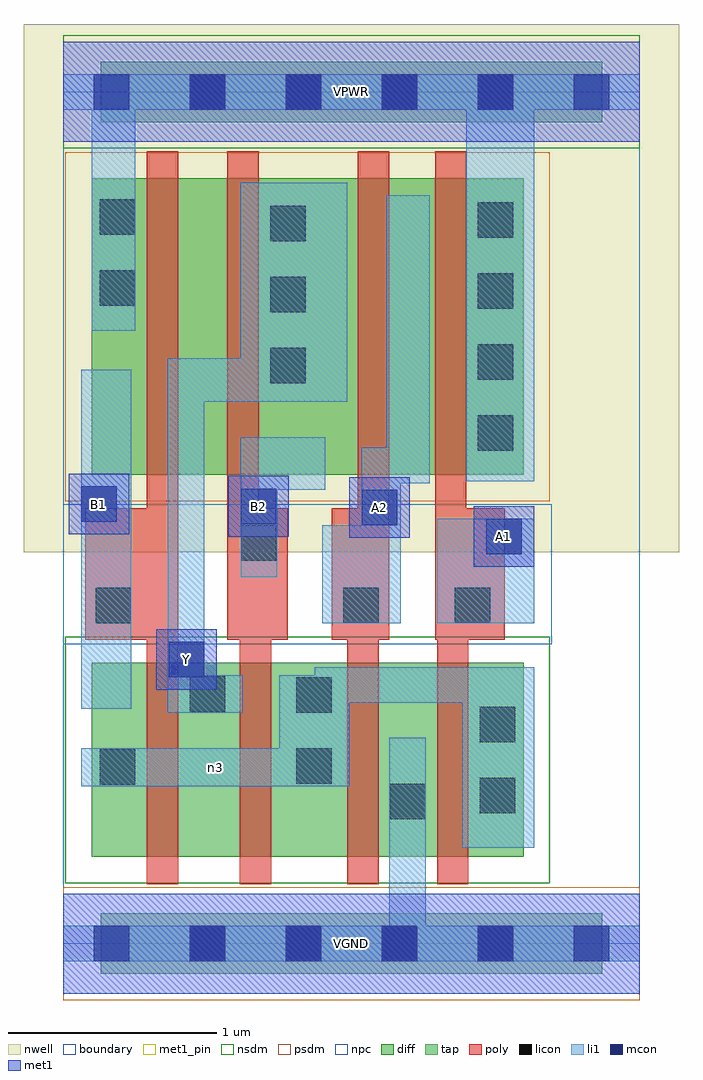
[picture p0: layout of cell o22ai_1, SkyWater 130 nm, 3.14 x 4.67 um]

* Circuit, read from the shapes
.subckt o22ai_1 A1 A2 B1 B2 VGND VPWR Y n3
XM1 Y B1 n3 VGND sky130_fd_pr__nfet_01v8 w=0.93 l=0.15
XM2 n3 B2 Y VGND sky130_fd_pr__nfet_01v8 w=0.93 l=0.15
XM3 VGND A2 n3 VGND sky130_fd_pr__nfet_01v8 w=0.93 l=0.15
XM4 n3 A1 VGND VGND sky130_fd_pr__nfet_01v8 w=0.93 l=0.15
XM5 n1 B1 VPWR VPWR sky130_fd_pr__pfet_01v8 w=1.42 l=0.15
XM6 Y B2 n1 VPWR sky130_fd_pr__pfet_01v8 w=1.42 l=0.15
XM7 n2 A2 Y VPWR sky130_fd_pr__pfet_01v8 w=1.42 l=0.15
XM8 VPWR A1 n2 VPWR sky130_fd_pr__pfet_01v8 w=1.42 l=0.15
.ends

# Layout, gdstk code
import gdstk
lib = gdstk.Library(unit=1e-6, precision=1e-09)
def R(c, l, rs):  # rectangles x0, y0, x1, y1
    for r in rs: c.add(gdstk.rectangle(r[:2], r[2:], *l))
def A(c, l, x, y, w, h, nx, ny, dx, dy):  # array of equal rectangles
    R(c, l, [(x+i*dx, y+j*dy, x+i*dx+w, y+j*dy+h) for i in range(nx) for j in range(ny)])
nwell = (64, 20)
diff = (65, 20)
tap = (65, 44)
poly = (66, 20)
licon = (66, 44)
li1 = (67, 20)
mcon = (67, 44)
met1_pin = (68, 16)
met1 = (68, 20)
nsdm = (93, 44)
psdm = (94, 20)
npc = (95, 20)
boundary = (235, 4)

o22ai_1 = lib.new_cell('o22ai_1')
R(o22ai_1, nwell, [(-0.19,1.875,2.95,4.405), (0,1.875,2.76,4.405)])
R(o22ai_1, diff, [(0.135,0.415,2.205,1.345), (0.135,2.245,2.205,3.665)])
R(o22ai_1, tap, [(0.18,-0.145,2.58,0.145), (0.18,3.935,2.58,4.225)])
R(o22ai_1, poly, [(0.4,0.285,0.55,3.795), (0.845,0.285,0.995,2.085), (1.36,0.285,1.51,2.085), (1.79,0.285,1.94,2.085), (0.105,1.455,0.55,2.085), (0.785,1.455,0.935,3.795), (0.785,1.455,1.075,2.085), (1.285,1.455,1.56,2.085), (1.41,1.455,1.56,3.795), (1.78,1.455,1.93,3.795), (1.78,1.455,2.115,2.085)])
A(o22ai_1, licon, 0.605, -0.085, 0.17, 0.17, 4, 2, 0.46, 4.08)
A(o22ai_1, licon, 1.985, 2.36, 0.17, 0.17, 1, 4, 0, 0.34)
A(o22ai_1, licon, 0.99, 2.685, 0.17, 0.17, 1, 3, 0, 0.34)
R(o22ai_1, licon, [(1.565,0.595,1.735,0.765), (1.995,0.625,2.165,0.795), (0.175,0.76,0.345,0.93), (1.115,0.765,1.285,0.935), (1.995,0.965,2.165,1.135), (1.115,1.105,1.285,1.275), (0.605,1.11,0.775,1.28), (0.155,1.535,0.325,1.705), (1.34,1.535,1.51,1.705), (1.875,1.535,2.045,1.705), (0.85,1.835,1.02,2.005), (0.175,3.055,0.345,3.225), (0.175,3.395,0.345,3.565)])
R(o22ai_1, li1, [(0,-0.085,2.76,0.085), (1.56,-0.085,1.735,0.985), (1.91,0.46,2.255,1.325), (0.085,0.755,1.37,0.935), (1.035,0.755,1.37,1.285), (0.5,1.105,0.675,2.805), (0.5,1.105,0.86,1.285), (0.085,1.125,0.325,2.75), (1.205,1.155,2.255,1.325), (1.24,1.535,1.615,2.005), (1.43,1.535,1.615,2.375), (1.79,1.535,2.255,2.035), (0.85,1.755,1.025,2.425), (0.85,2.175,1.255,2.425), (1.55,2.205,1.755,3.585), (1.93,2.215,2.255,4.165), (0.5,2.595,1.36,2.805), (0.85,2.595,1.36,3.645), (0.135,2.935,0.345,4.165), (0,3.995,2.76,4.165)])
A(o22ai_1, mcon, 0.145, -0.085, 0.17, 0.17, 6, 2, 0.46, 4.08)
R(o22ai_1, mcon, [(0.505,1.275,0.675,1.445), (2.025,1.865,2.195,2.035), (1.43,2.005,1.6,2.175), (0.85,2.01,1.02,2.18), (0.085,2.02,0.255,2.19)])
R(o22ai_1, met1_pin, [(0,-0.24,2.76,0.24), (0.445,1.215,0.735,1.505), (1.965,1.805,2.255,2.095), (1.37,1.945,1.66,2.235), (0.79,1.95,1.08,2.24), (0.025,1.96,0.315,2.25), (0,3.84,2.76,4.32)])
R(o22ai_1, met1, [(0,-0.24,2.76,0.24), (0.445,1.215,0.735,1.505), (1.965,1.805,2.255,2.095), (1.37,1.945,1.66,2.235), (0.79,1.95,1.08,2.24), (0.025,1.96,0.315,2.25), (0,3.84,2.76,4.32)])
R(o22ai_1, nsdm, [(0.01,0.29,2.33,1.47), (0,3.81,2.76,4.35)])
R(o22ai_1, psdm, [(0,-0.27,2.76,0.27), (0.01,2.12,2.33,3.79)])
R(o22ai_1, npc, [(0,1.435,2.34,2.105)])
R(o22ai_1, boundary, [(0,0,2.76,4.08)])
o22ai_1.add(gdstk.Label('n3', (0.727,0.845), layer=67, texttype=5))
o22ai_1.add(gdstk.Label('A1', (2.11,1.95), layer=68, texttype=5))
o22ai_1.add(gdstk.Label('A2', (1.515,2.09), layer=68, texttype=5))
o22ai_1.add(gdstk.Label('B1', (0.17,2.105), layer=68, texttype=5))
o22ai_1.add(gdstk.Label('B2', (0.935,2.095), layer=68, texttype=5))
o22ai_1.add(gdstk.Label('Y', (0.59,1.36), layer=68, texttype=5))
o22ai_1.add(gdstk.Label('VPWR', (1.38,4.08), layer=68, texttype=5))
o22ai_1.add(gdstk.Label('VGND', (1.38,0), layer=68, texttype=5))
o22ai_1.add(gdstk.Label('A1', (2.11,1.95), layer=68, texttype=16))
o22ai_1.add(gdstk.Label('A2', (1.515,2.09), layer=68, texttype=16))
o22ai_1.add(gdstk.Label('B1', (0.17,2.105), layer=68, texttype=16))
o22ai_1.add(gdstk.Label('B2', (0.935,2.095), layer=68, texttype=16))
o22ai_1.add(gdstk.Label('Y', (0.59,1.36), layer=68, texttype=16))
o22ai_1.add(gdstk.Label('VPWR', (1.38,4.08), layer=68, texttype=16))
o22ai_1.add(gdstk.Label('VGND', (1.38,0), layer=68, texttype=16))

lib.write_gds('o22ai_1.gds')
